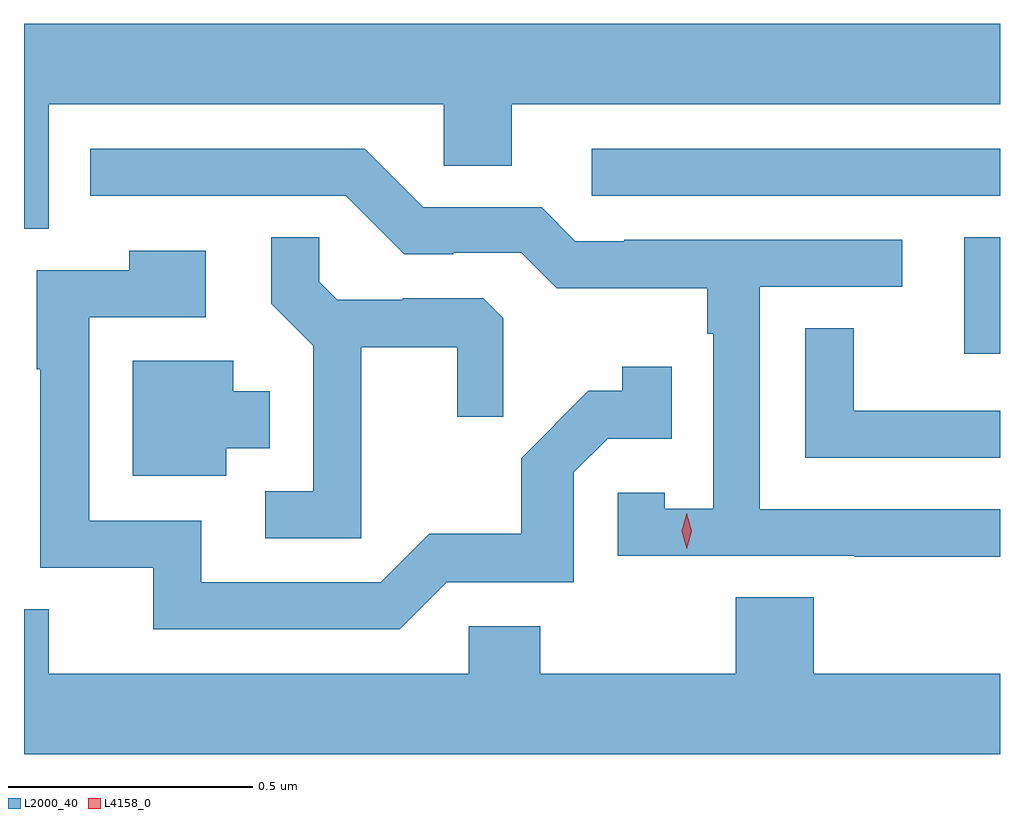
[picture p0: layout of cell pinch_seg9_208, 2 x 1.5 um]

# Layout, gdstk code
import gdstk
lib = gdstk.Library(unit=1e-6, precision=1e-09)
def R(c, l, rs):  # rectangles x0, y0, x1, y1
    for r in rs: c.add(gdstk.rectangle(r[:2], r[2:], *l))
def P(c, l, *ps):  # polygons
    for p in ps: c.add(gdstk.Polygon(p, *l))
L2000_40 = (2000, 40)
L4158_0 = (4158, 0)

pinch_seg9_208 = lib.new_cell('pinch_seg9_208')
R(pinch_seg9_208, L2000_40, [(523.775,1217.22,523.848,1217.459), (523.011,1217.544,523.848,1217.64)])
P(pinch_seg9_208, L2000_40, [(521.899,1217.732),(522.708,1217.732),(522.708,1217.605),(522.847,1217.605),(522.847,1217.732),(523.848,1217.732),(523.848,1217.896),(521.848,1217.896),(521.848,1217.476),(521.899,1217.476)],
  [(523.848,1216.902),(523.356,1216.902),(523.356,1217.358),(523.648,1217.358),(523.648,1217.454),(523.078,1217.454),(523.078,1217.451),(522.978,1217.451),(522.909,1217.52),(522.666,1217.52),(522.546,1217.64),(521.984,1217.64),(521.984,1217.544),(522.507,1217.544),(522.627,1217.424),(522.728,1217.424),(522.728,1217.427),(522.867,1217.427),(522.94,1217.354),(523.248,1217.354),(523.248,1217.261),(523.26,1217.261),(523.26,1216.903),(523.161,1216.903),(523.161,1216.935),(523.065,1216.935),(523.065,1216.806),(523.549,1216.806),(523.549,1216.804),(523.848,1216.804)],
  [(522.539,1217.234),(522.736,1217.234),(522.736,1217.091),(522.83,1217.091),(522.83,1217.293),(522.789,1217.334),(522.624,1217.334),(522.624,1217.331),(522.49,1217.331),(522.453,1217.368),(522.453,1217.459),(522.355,1217.459),(522.355,1217.323),(522.441,1217.237),(522.441,1216.938),(522.342,1216.938),(522.342,1216.842),(522.539,1216.842)],
  [(522.714,1216.752),(522.975,1216.752),(522.975,1216.977),(523.044,1217.046),(523.175,1217.046),(523.175,1217.194),(523.074,1217.194),(523.074,1217.144),(523.004,1217.144),(522.867,1217.006),(522.867,1216.851),(522.678,1216.851),(522.579,1216.752),(522.211,1216.752),(522.211,1216.878),(521.982,1216.878),(521.982,1217.295),(522.22,1217.295),(522.22,1217.431),(522.064,1217.431),(522.064,1217.391),(521.874,1217.391),(521.874,1217.188),(521.881,1217.188),(521.881,1216.782),(522.113,1216.782),(522.113,1216.656),(522.618,1216.656)],
  [(523.848,1217.103),(523.548,1217.103),(523.548,1217.273),(523.449,1217.273),(523.449,1217.007),(523.848,1217.007)],
  [(522.262,1217.027),(522.352,1217.027),(522.352,1217.143),(522.277,1217.143),(522.277,1217.206),(522.071,1217.206),(522.071,1216.97),(522.262,1216.97)],
  [(523.848,1216.564),(523.466,1216.564),(523.466,1216.721),(523.306,1216.721),(523.306,1216.564),(522.906,1216.564),(522.906,1216.662),(522.759,1216.662),(522.759,1216.564),(521.899,1216.564),(521.899,1216.697),(521.848,1216.697),(521.848,1216.4),(523.848,1216.4)])
P(pinch_seg9_208, L4158_0, [(523.206,1216.821),(523.206,1216.821),(523.196,1216.857),(523.206,1216.893),(523.206,1216.893),(523.206,1216.893),(523.216,1216.857),(523.206,1216.821)])

lib.write_gds('pinch_seg9_208.gds')
